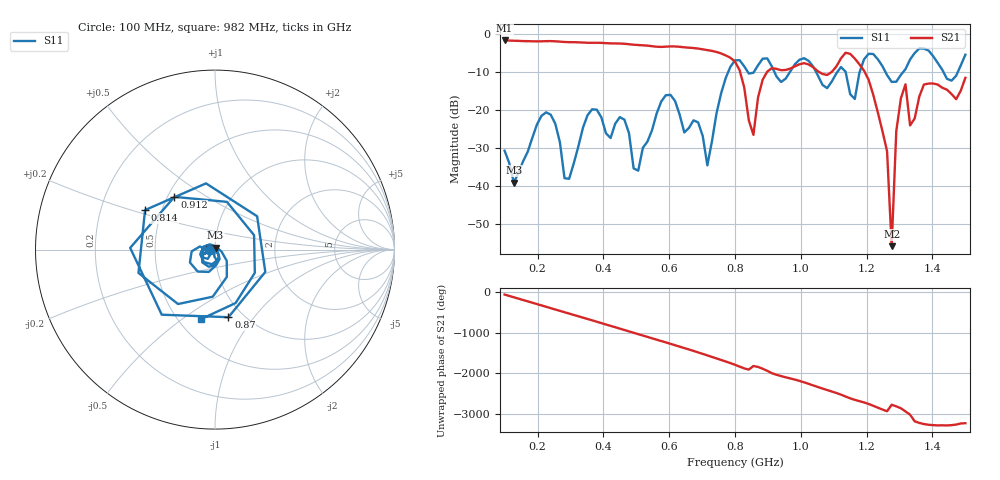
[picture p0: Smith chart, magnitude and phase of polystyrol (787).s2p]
! NanoVNA-App
! Date: 2025-09-25 15:36:00
! Start: 100MHz Stop: 1,5GHz Points: 101
! S-Parameter data: F S11 S21 S12 S22
# Hz S RI R 50
!  Frequency  S11_Real  S11_Imag  S21_Real  S21_Imag  S12_Real  S12_Imag  S22_Real  S22_Imag
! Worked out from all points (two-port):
!   101 points, 100 MHz to 1.5 GHz, reference 50 ohm
!   highest |S21| = -1.80 dB at 100 MHz (marker M1); lowest = -55.8 dB at 1.276 GHz (marker M2)
!   |S21| within 3 dB of the highest: start of sweep to 743.1 MHz
!   lowest |S11| = -39.1 dB at 128 MHz (marker M3), VSWR 1.02, Z = 50.3 + j1.06 ohm
!   |S11| at or under -10 dB: start of sweep to 779.8 MHz; 1.046 GHz to 1.112 GHz (65.77 MHz wide, 6.1 % of centre); 1.257 GHz to 1.312 GHz (55.07 MHz wide, 4.29 % of centre) (the widest 3 of 7)
!   S12 and S22 are empty: the file has one direction only
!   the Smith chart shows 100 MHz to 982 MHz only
!   S11 on the Smith chart (normalised r, x): 100 MHz: 0.94, -0.01; 814 MHz: 0.40, +0.22; 870 MHz: 0.85, -0.76; 912 MHz: 0.54, +0.37; 982 MHz: 0.64, -0.59
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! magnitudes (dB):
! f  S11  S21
! 100 MHz  -30.7  -1.8
! 128 MHz  -39.1  -1.9
! 212 MHz  -21.6  -2.0
! 282 MHz  -37.9  -2.2
! 338 MHz  -24.7  -2.3
! 506 MHz  -36.0  -3.0
! 576 MHz  -17.8  -3.5
! 716 MHz  -34.6  -4.3
! 800 MHz  -7.0  -7.3
! 814 MHz  -7.0  -9.6
! 856 MHz  -10.3  -26.6
! 870 MHz  -8.3  -16.7
! 912 MHz  -8.6  -9.1
! 982 MHz  -8.0  -8.6
! 1.038 GHz  -8.7  -8.9
! 1.164 GHz  -17.1  -6.5
! 1.206 GHz  -5.3  -12.1
! 1.262 GHz  -10.9  -30.8
! 1.276 GHz  -12.7  -55.8
! 1.29 GHz  -12.6  -25.6
! 1.318 GHz  -9.3  -13.3
! 1.5 GHz  -5.5  -11.6
